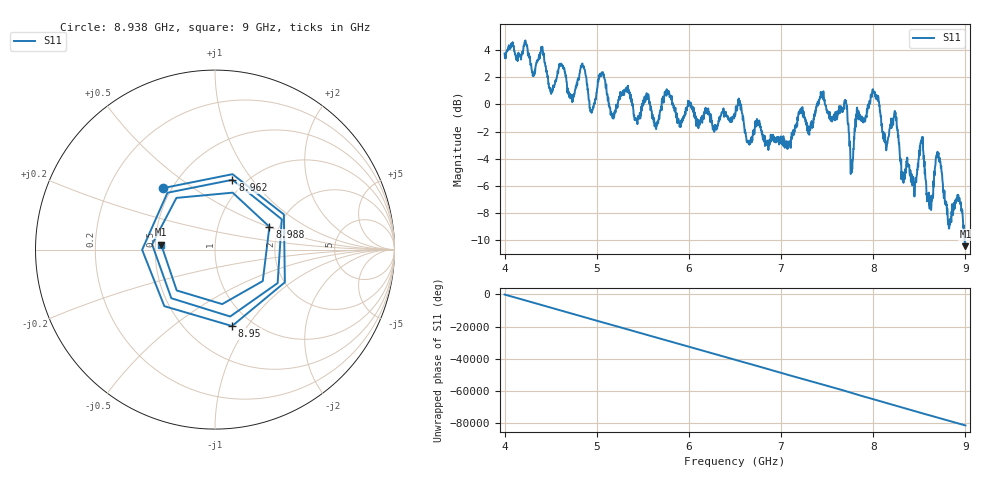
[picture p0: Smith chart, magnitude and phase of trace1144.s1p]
! Created with skrf 1.8.0 (http://scikit-rf.org).
# Hz S RI R 50.0
!freq ReS11 ImS11
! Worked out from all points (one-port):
!   1601 points, 4 GHz to 9 GHz, reference 50 ohm
!   lowest |S11| = -10.4 dB at 9 GHz (marker M1), VSWR 1.86, Z = 26.9 + j1.64 ohm
!   |S11| at or under -10 dB: 8.991571 GHz to end of sweep
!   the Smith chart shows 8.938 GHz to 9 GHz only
!   S11 on the Smith chart (normalised r, x): 8.938 GHz: 0.45, +0.38; 8.95 GHz: 0.81, -0.85; 8.962 GHz: 0.87, +0.81; 8.988 GHz: 1.78, +0.51; 9 GHz: 0.54, +0.03
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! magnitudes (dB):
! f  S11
! 4 GHz  3.7
! 4.406 GHz  4.1
! 4.506 GHz  0.8
! 4.625 GHz  2.9
! 4.725 GHz  0.5
! 4.853 GHz  2.7
! 4.947 GHz  -0.5
! 5.047 GHz  2.1
! 5.162 GHz  -0.8
! 5.25 GHz  0.6
! 5.875 GHz  -1.4
! 6.5 GHz  -0.8
! 7.125 GHz  -2.3
! 7.447 GHz  0.6
! 7.694 GHz  0.2
! 7.75 GHz  -3.3
! 8.012 GHz  0.9
! 8.375 GHz  -4.6
! 8.45 GHz  -6.2
! 8.525 GHz  -2.8
! 8.612 GHz  -7.7
! 8.703 GHz  -3.5
! 8.822 GHz  -9.1
! 8.938 GHz  -7.0
! 8.95 GHz  -7.2
! 8.962 GHz  -7.9
! 8.988 GHz  -9.7
! 9 GHz  -10.4
